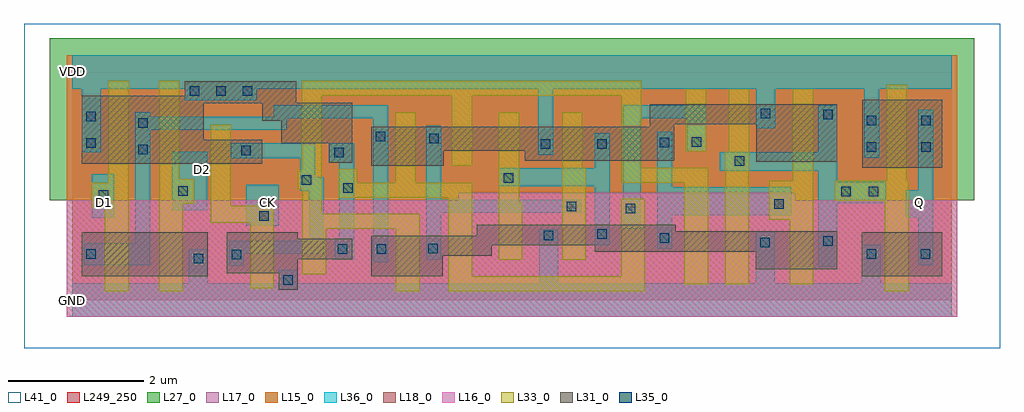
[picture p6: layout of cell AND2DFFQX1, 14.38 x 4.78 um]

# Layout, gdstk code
import gdstk
lib = gdstk.Library(unit=1e-6, precision=1e-09)
def R(c, l, rs):  # rectangles x0, y0, x1, y1
    for r in rs: c.add(gdstk.rectangle(r[:2], r[2:], *l))
def A(c, l, x, y, w, h, nx, ny, dx, dy):  # array of equal rectangles
    R(c, l, [(x+i*dx, y+j*dy, x+i*dx+w, y+j*dy+h) for i in range(nx) for j in range(ny)])
def P(c, l, *ps):  # polygons
    for p in ps: c.add(gdstk.Polygon(p, *l))
L15_0 = (15, 0)
L16_0 = (16, 0)
L17_0 = (17, 0)
L18_0 = (18, 0)
L27_0 = (27, 0)
L31_0 = (31, 0)
L33_0 = (33, 0)
L35_0 = (35, 0)
L36_0 = (36, 0)
L41_0 = (41, 0)
L249_250 = (249, 250)

and2dffqx1 = lib.new_cell('AND2DFFQX1')
P(and2dffqx1, L15_0, [(-0.08,1.47),(-0.08,3.61),(13.04,3.61),(13.04,1.47),(10.653,1.47),(10.653,1.58),(5.691,1.58),(5.691,1.47)])
P(and2dffqx1, L16_0, [(-0.08,-0.25),(-0.08,1.47),(5.691,1.47),(5.691,1.58),(10.653,1.58),(10.653,1.47),(13.04,1.47),(13.04,-0.25)])
P(and2dffqx1, L17_0, [(-0.08,1.47),(-0.08,3.61),(13.04,3.61),(13.04,1.47),(10.653,1.47),(10.653,1.58),(5.691,1.58),(5.691,1.47)])
P(and2dffqx1, L18_0, [(-0.08,-0.25),(-0.08,1.47),(5.691,1.47),(5.691,1.58),(10.653,1.58),(10.653,1.47),(13.04,1.47),(13.04,-0.25)])
P(and2dffqx1, L27_0, [(-0.33,1.47),(-0.33,3.86),(13.29,3.86),(13.29,1.47),(10.653,1.47),(10.653,1.58),(5.691,1.58),(5.691,1.47)])
R(and2dffqx1, L31_0, [(0.14,0.35,2,1), (11.635,0.35,12.82,1), (11.639,1.95,12.82,2.95)])
P(and2dffqx1, L31_0, [(1.66,2.009),(1.66,2.01),(0.14,2.01),(0.14,3.01),(1.662,3.01),(1.662,3.22),(3.299,3.22),(3.299,2.91),(4.123,2.91),(4.123,2.024),(3.779,2.024),(3.779,2.31),(3.079,2.31),(3.079,2.639),(2.797,2.639),(2.797,2.901),(1.939,2.901),(1.939,2.359),(2.799,2.359),(2.799,2.009)],
  [(4.403,1.98),(4.403,2.55),(8.513,2.55),(8.513,2.887),(11.273,2.887),(11.273,2.037),(10.075,2.037),(10.075,2.587),(8.868,2.587),(8.868,2.05),(6.668,2.05),(6.668,2.2),(5.472,2.2),(5.472,1.98)],
  [(4.404,0.35),(4.404,0.95),(5.964,0.95),(5.964,1.11),(8.889,1.11),(8.889,1.01),(11.273,1.01),(11.273,0.45),(10.071,0.45),(10.071,0.71),(7.698,0.71),(7.698,0.81),(6.184,0.81),(6.184,0.65),(5.463,0.65),(5.463,0.35)],
  [(3.04,0.148),(3.04,0.397),(2.28,0.397),(2.28,0.997),(3.32,0.997),(3.32,0.902),(4.124,0.902),(4.124,0.602),(3.32,0.602),(3.32,0.148)])
R(and2dffqx1, L33_0, [(9.041,2.19,9.341,3.107)])
P(and2dffqx1, L33_0, [(6.284,0.59),(6.284,1.743),(6.288,1.743),(6.288,2.77),(6.588,2.77),(6.588,1.441),(6.634,1.441),(6.634,0.59)],
  [(7.218,0.59),(7.218,2.77),(7.518,2.77),(7.518,1.95),(7.568,1.95),(7.568,0.59)],
  [(2.62,0.177),(2.62,1.138),(2.039,1.138),(2.039,2.579),(2.339,2.579),(2.339,1.388),(2.97,1.388),(2.97,0.177)],
  [(9.621,0.23),(9.621,2.188),(9.675,2.188),(9.675,3.107),(9.975,3.107),(9.975,2.138),(9.971,2.138),(9.971,0.23)],
  [(10.569,0.23),(10.569,1.182),(10.271,1.182),(10.271,1.755),(10.619,1.755),(10.619,3.107),(10.919,3.107),(10.919,0.23)],
  [(11.975,0.13),(11.975,1.46),(11.243,1.46),(11.243,1.755),(11.999,1.755),(11.999,3.17),(12.299,3.17),(12.299,1.755),(12.326,1.755),(12.326,1.46),(12.325,1.46),(12.325,0.13)],
  [(5.544,0.13),(5.544,1.51),(3.92,1.51),(3.92,1.924),(4.202,1.924),(4.202,1.73),(4.763,1.73),(4.763,2.77),(5.063,2.77),(5.063,1.73),(5.894,1.73),(5.894,0.35),(8.087,0.35),(8.087,1.49),(8.437,1.49),(8.437,0.13)],
  [(4.769,0.13),(4.769,1.05),(3.74,1.05),(3.74,0.382),(3.39,0.382),(3.39,1.629),(3.324,1.629),(3.324,1.909),(3.379,1.909),(3.379,3.23),(8.387,3.23),(8.387,1.95),(9.371,1.95),(9.371,0.23),(9.021,0.23),(9.021,1.73),(8.087,1.73),(8.087,3.01),(5.893,3.01),(5.893,1.98),(5.593,1.98),(5.593,3.01),(3.679,3.01),(3.679,1.909),(3.68,1.909),(3.68,1.27),(5.119,1.27),(5.119,0.13)],
  [(1.28,0.13),(1.28,3.23),(1.58,3.23),(1.58,1.781),(1.799,1.781),(1.799,1.419),(1.63,1.419),(1.63,0.13)],
  [(0.48,0.13),(0.48,1.364),(0.286,1.364),(0.286,1.726),(0.53,1.726),(0.53,3.23),(0.83,3.23),(0.83,0.13)])
A(and2dffqx1, L35_0, 1.732, 3.01, 0.14, 0.14, 3, 1, 0.39, 0)
R(and2dffqx1, L35_0, [(3.11,0.228,3.25,0.368), (1.79,0.54,1.93,0.68), (2.35,0.598,2.49,0.738), (0.21,0.605,0.35,0.745), (11.705,0.605,11.845,0.745), (12.503,0.605,12.643,0.745), (4.489,0.68,4.629,0.82), (3.91,0.682,4.05,0.822), (5.249,0.69,5.389,0.83), (10.141,0.78,10.281,0.92), (11.063,0.797,11.203,0.937), (8.658,0.845,8.798,0.985), (6.948,0.88,7.088,1.02), (7.738,0.9,7.878,1.04), (2.753,1.167,2.893,1.307), (8.157,1.28,8.297,1.42), (7.288,1.31,7.428,1.45), (10.341,1.342,10.481,1.482), (0.394,1.481,0.534,1.621), (11.333,1.53,11.473,1.67), (11.736,1.53,11.876,1.67), (1.561,1.536,1.701,1.676), (3.992,1.58,4.132,1.72), (3.384,1.699,3.524,1.839), (6.358,1.73,6.498,1.87), (9.761,1.978,9.901,2.118), (3.858,2.101,3.998,2.241), (2.489,2.135,2.629,2.275), (0.97,2.147,1.11,2.287), (11.709,2.185,11.849,2.325), (12.507,2.185,12.647,2.325), (6.906,2.23,7.046,2.37), (7.738,2.23,7.878,2.37), (0.21,2.245,0.35,2.385), (8.658,2.25,8.798,2.39), (9.131,2.26,9.271,2.4), (5.259,2.31,5.399,2.45), (4.473,2.34,4.613,2.48), (0.97,2.537,1.11,2.677), (11.709,2.575,11.849,2.715), (12.507,2.575,12.647,2.715), (0.21,2.635,0.35,2.775), (11.063,2.66,11.203,2.8), (10.145,2.677,10.285,2.817)])
R(and2dffqx1, L36_0, [(2.563,1.097,3.044,1.697), (0.285,1.212,0.617,1.851), (1.471,1.321,1.993,2.181)])
P(and2dffqx1, L36_0, [(3.87,0.592),(3.87,0.912),(3.937,0.912),(3.937,2.025),(3.784,2.025),(3.784,2.31),(4.157,2.31),(4.157,0.592)],
  [(8.618,0.755),(8.618,2.48),(8.838,2.48),(8.838,1.663),(10.595,1.663),(10.595,1.252),(8.838,1.252),(8.838,0.755)],
  [(7.698,0.81),(7.698,1.68),(6.288,1.68),(6.288,1.94),(7.698,1.94),(7.698,2.46),(7.918,2.46),(7.918,0.81)],
  [(8.118,1.047),(8.118,2.87),(9.341,2.87),(9.341,2.19),(9.061,2.19),(9.061,2.68),(8.378,2.68),(8.378,1.047)],
  [(12.463,0.515),(12.463,0.835),(12.467,0.835),(12.467,1.216),(12.285,1.216),(12.285,1.62),(12.467,1.62),(12.467,2.805),(12.687,2.805),(12.687,0.807),(12.683,0.807),(12.683,0.515)],
  [(5.219,0.59),(5.219,2.57),(5.439,2.57),(5.439,1.475),(7.498,1.475),(7.498,1.285),(5.439,1.285),(5.439,0.59)],
  [(0,-0.25),(0,0.25),(1.72,0.25),(1.72,0.75),(2,0.75),(2,0.25),(3.04,0.25),(3.04,0.443),(3.32,0.443),(3.32,0.25),(6.878,0.25),(6.878,1.045),(7.158,1.045),(7.158,0.25),(10.071,0.25),(10.071,1.012),(10.351,1.012),(10.351,0.25),(11.635,0.25),(11.635,0.815),(11.915,0.815),(11.915,0.25),(12.96,0.25),(12.96,-0.25)],
  [(10.993,0.49),(10.993,1.903),(9.541,1.903),(9.541,2.178),(10.993,2.178),(10.993,2.87),(11.273,2.87),(11.273,1.74),(11.984,1.74),(11.984,1.428),(11.273,1.428),(11.273,0.49)],
  [(2.31,0.508),(2.31,0.873),(3.49,0.873),(3.49,1.61),(3.358,1.61),(3.358,1.83),(3.359,1.83),(3.359,2.09),(2.343,2.09),(2.343,2.31),(3.579,2.31),(3.579,1.81),(3.71,1.81),(3.71,0.683),(2.53,0.683),(2.53,0.508)],
  [(0.17,0.515),(0.17,0.835),(0.93,0.835),(0.93,2.767),(1.15,2.767),(1.15,2.7),(2.973,2.7),(2.973,2.87),(4.655,2.87),(4.655,0.56),(4.435,0.56),(4.435,0.59),(4.431,0.59),(4.431,0.91),(4.435,0.91),(4.435,2.68),(3.163,2.68),(3.163,2.51),(1.15,2.51),(1.15,0.515)],
  [(11.669,2.095),(11.669,3.11),(10.355,3.11),(10.355,2.53),(10.075,2.53),(10.075,3.11),(7.086,3.11),(7.086,2.14),(6.866,2.14),(6.866,3.11),(2.722,3.11),(2.722,2.94),(1.662,2.94),(1.662,3.11),(0.42,3.11),(0.42,2.175),(0.14,2.175),(0.14,3.11),(0,3.11),(0,3.61),(12.96,3.61),(12.96,3.11),(11.889,3.11),(11.889,2.095)])
R(and2dffqx1, L41_0, [(-0.71,-0.708,13.67,4.068)])
R(and2dffqx1, L249_250, [(0,0,12.96,3.36)])
and2dffqx1.add(gdstk.Label('D1', (0.48,1.44), layer=211, texttype=0))
and2dffqx1.add(gdstk.Label('D2', (1.92,1.92), layer=211, texttype=0))
and2dffqx1.add(gdstk.Label('CK', (2.88,1.44), layer=211, texttype=0))
and2dffqx1.add(gdstk.Label('VDD', (0,3.36), layer=211, texttype=0))
and2dffqx1.add(gdstk.Label('GND', (0,0), layer=211, texttype=0))
and2dffqx1.add(gdstk.Label('Q', (12.48,1.44), layer=211, texttype=0))

lib.write_gds('AND2DFFQX1.gds')
